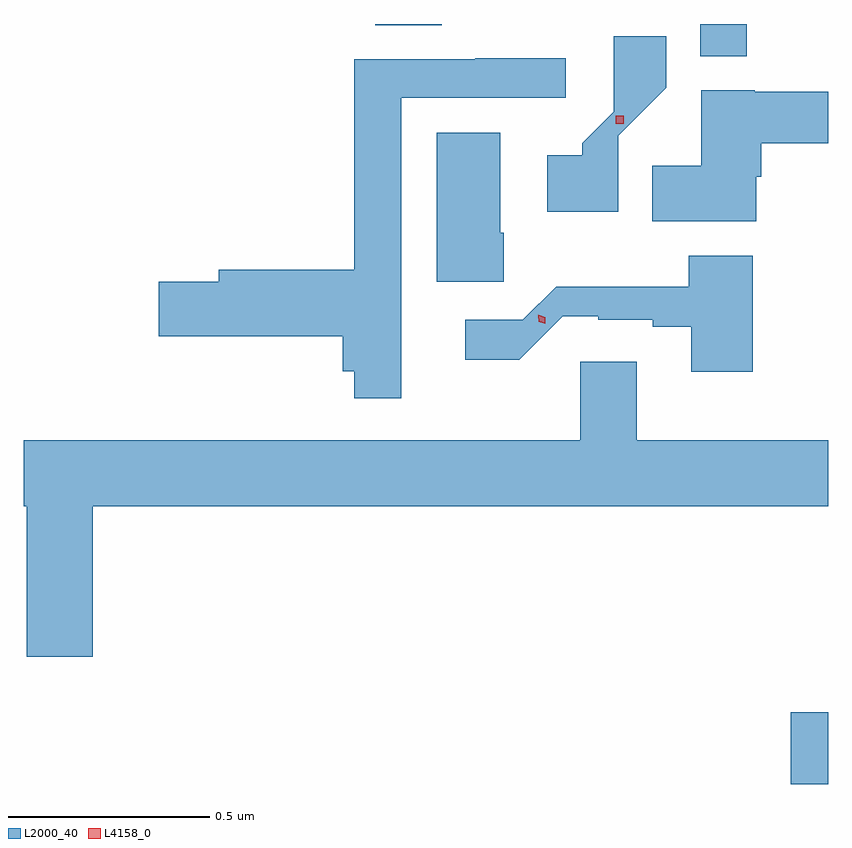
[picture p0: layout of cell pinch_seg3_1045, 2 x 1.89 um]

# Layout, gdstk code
import gdstk
lib = gdstk.Library(unit=1e-6, precision=1e-09)
def R(c, l, rs):  # rectangles x0, y0, x1, y1
    for r in rs: c.add(gdstk.rectangle(r[:2], r[2:], *l))
def P(c, l, *ps):  # polygons
    for p in ps: c.add(gdstk.Polygon(p, *l))
L2000_40 = (2000, 40)
L4158_0 = (4158, 0)

pinch_seg3_1045 = lib.new_cell('pinch_seg3_1045')
R(pinch_seg3_1045, L2000_40, [(514.56,678.913,514.653,679.091), (514.335,680.723,514.451,680.803), (513.527,680.8,513.692,680.803)])
P(pinch_seg3_1045, L2000_40, [(514.131,680.525),(514.25,680.644),(514.25,680.773),(514.12,680.773),(514.12,680.585),(514.041,680.506),(514.041,680.476),(513.954,680.476),(513.954,680.336),(514.131,680.336)],
  [(513.591,680.619),(514,680.619),(514,680.718),(513.775,680.718),(513.775,680.715),(513.475,680.715),(513.475,680.192),(513.137,680.192),(513.137,680.162),(512.988,680.162),(512.988,680.027),(513.446,680.027),(513.446,679.94),(513.475,679.94),(513.475,679.872),(513.591,679.872)],
  [(514.474,680.423),(514.487,680.423),(514.487,680.506),(514.653,680.506),(514.653,680.635),(514.47,680.635),(514.47,680.638),(514.337,680.638),(514.337,680.451),(514.216,680.451),(514.216,680.312),(514.474,680.312)],
  [(513.846,680.284),(513.838,680.284),(513.838,680.533),(513.68,680.533),(513.68,680.162),(513.846,680.162)],
  [(514.466,680.227),(514.306,680.227),(514.306,680.15),(513.977,680.15),(513.894,680.067),(513.75,680.067),(513.75,679.968),(513.885,679.968),(513.993,680.076),(514.081,680.076),(514.081,680.068),(514.217,680.068),(514.217,680.05),(514.313,680.05),(514.313,679.938),(514.466,679.938)],
  [(512.824,679.604),(514.653,679.604),(514.653,679.768),(514.177,679.768),(514.177,679.963),(514.037,679.963),(514.037,679.768),(512.653,679.768),(512.653,679.604),(512.66,679.604),(512.66,679.23),(512.824,679.23)])
R(pinch_seg3_1045, L4158_0, [(514.125,680.555,514.145,680.575)])
P(pinch_seg3_1045, L4158_0, [(513.949,680.057),(513.933,680.062),(513.932,680.079),(513.932,680.08),(513.932,680.08),(513.949,680.074),(513.95,680.057),(513.95,680.057)])

lib.write_gds('pinch_seg3_1045.gds')
